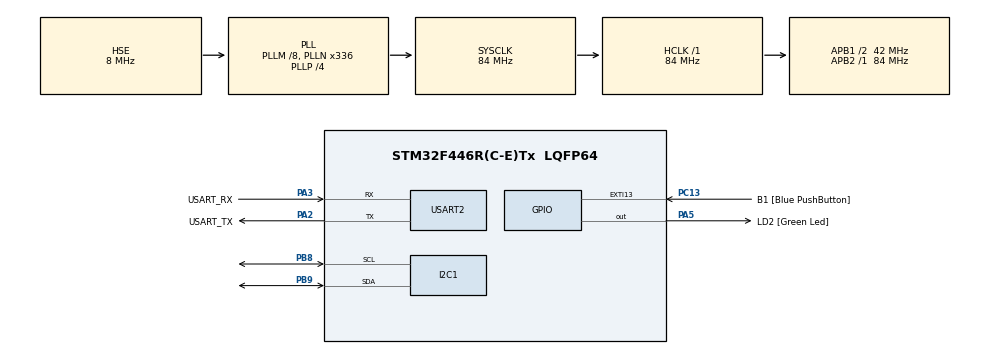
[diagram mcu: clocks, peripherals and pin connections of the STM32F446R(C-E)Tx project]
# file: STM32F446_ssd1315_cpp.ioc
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I2C1.I2C_Mode=I2C_Fast
Mcu.Family=STM32F4
Mcu.Name=STM32F446R(C-E)Tx
Mcu.Package=LQFP64
NVIC.PriorityGroup=NVIC_PRIORITYGROUP_0
PA13.GPIO_Label=TMS
PA13.Mode=Serial_Wire
PA13.Signal=SYS_JTMS-SWDIO
PA14.GPIO_Label=TCK
PA14.Mode=Serial_Wire
PA14.Signal=SYS_JTCK-SWCLK
PA2.GPIO_Label=USART_TX
PA2.Mode=Asynchronous
PA2.Signal=USART2_TX
PA3.GPIO_Label=USART_RX
PA3.Mode=Asynchronous
PA3.Signal=USART2_RX
PA5.GPIO_Label=LD2 [Green Led]
PA5.Signal=GPIO_Output
PB3.GPIO_Label=SWO
PB3.Signal=SYS_JTDO-SWO
PB8.Mode=I2C
PB8.Signal=I2C1_SCL
PB9.Mode=I2C
PB9.Signal=I2C1_SDA
PC13.GPIO_Label=B1 [Blue PushButton]
PC13.GPIO_ModeDefaultEXTI=GPIO_MODE_IT_FALLING
PC13.Signal=GPXTI13
PC14-OSC32_IN.Mode=LSE-External-Oscillator
PC14-OSC32_IN.Signal=RCC_OSC32_IN
PC15-OSC32_OUT.Mode=LSE-External-Oscillator
PC15-OSC32_OUT.Signal=RCC_OSC32_OUT
PH0-OSC_IN.Mode=HSE-External-Oscillator
PH0-OSC_IN.Signal=RCC_OSC_IN
PH1-OSC_OUT.Mode=HSE-External-Oscillator
PH1-OSC_OUT.Signal=RCC_OSC_OUT
ProjectManager.HeapSize=0x200
ProjectManager.StackSize=0x400
ProjectManager.TargetToolchain=STM32CubeIDE
RCC.48MHZClocksFreq_Value=84000000
RCC.AHBFreq_Value=84000000
RCC.APB1CLKDivider=RCC_HCLK_DIV2
RCC.APB1Freq_Value=42000000
RCC.APB1TimFreq_Value=84000000
RCC.APB2Freq_Value=84000000
RCC.APB2TimFreq_Value=84000000
RCC.CortexFreq_Value=84000000
RCC.FLatency-AdvancedSettings=FLASH_LATENCY_2
RCC.HCLKFreq_Value=84000000
RCC.HSE_VALUE=8000000
RCC.HSI_VALUE=16000000
RCC.PLLM=8
RCC.PLLN=336
RCC.PLLP=RCC_PLLP_DIV4
RCC.PLLSourceVirtual=RCC_PLLSOURCE_HSE
RCC.SYSCLKFreq_VALUE=84000000
RCC.SYSCLKSource=RCC_SYSCLKSOURCE_PLLCLK
RCC.USBFreq_Value=168000000
RCC.VCOOutputFreq_Value=336000000
USART2.VirtualMode=VM_ASYNC
board=NUCLEO-F446RE

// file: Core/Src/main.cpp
/* USER CODE BEGIN Header */
/**
  ******************************************************************************
  * @file           : main.c
  * @brief          : Main program body
  ******************************************************************************
  * @attention
  *
  * Copyright (c) 2024 STMicroelectronics.
  * All rights reserved.
  *
  * This software is licensed under terms that can be found in the LICENSE file
  * in the root directory of this software component.
  * If no LICENSE file comes with this software, it is provided AS-IS.
  *
  ******************************************************************************
  */
/* USER CODE END Header */
#include "main.h"

/* USER CODE BEGIN Includes */
#include "ssd1315.hpp"
/* USER CODE END Includes */

I2C_HandleTypeDef hi2c1;

UART_HandleTypeDef huart2;

void SystemClock_Config(void);
static void MX_GPIO_Init(void);
static void MX_USART2_UART_Init(void);
static void MX_I2C1_Init(void);

int main(void)
{
  /* USER CODE BEGIN 1 */
	// Create an object with parameters
	ssd1315 myssd1315(&hi2c1, SSD1315_ADDR);
  /* USER CODE END 1 */

  /* MCU Configuration--------------------------------------------------------*/

  /* Reset of all peripherals, Initializes the Flash interface and the Systick. */
  HAL_Init();

  /* Configure the system clock */
  SystemClock_Config();

  /* Initialize all configured peripherals */
  MX_GPIO_Init();
  MX_USART2_UART_Init();
  MX_I2C1_Init();
  /* USER CODE BEGIN 2 */
  myssd1315.init();
  myssd1315.setcontrast(255);
  myssd1315.fillscreen(0);
  myssd1315.updatescreen();
  myssd1315.plotline(0, 0, 127, 63, 1);
  myssd1315.plotline(0, 63, 127, 0, 1);
  myssd1315.updatescreen();
  myssd1315.plotcircle(64, 32, 31, 1);
  myssd1315.updatescreen();
  for (int i = 0; i < 32; i ++) {
	  myssd1315.plotrect(i, 63-i, 127-i, i, 1);
	  myssd1315.updatescreen();
  }

  for (int i = 0; i < 256; i++) {
	  myssd1315.setcontrast(i);
	  HAL_Delay(25);
  }
  myssd1315.fillscreen(0);
  myssd1315.setpos(0, 0);
  myssd1315.puts("Done.");
  myssd1315.updatescreen();
  /* USER CODE END 2 */

  /* Infinite loop */
  while (1)
  {

  }
}

void SystemClock_Config(void)
{
  RCC_OscInitTypeDef RCC_OscInitStruct = {0};
  RCC_ClkInitTypeDef RCC_ClkInitStruct = {0};

  /** Configure the main internal regulator output voltage
  */
  __HAL_RCC_PWR_CLK_ENABLE();
  __HAL_PWR_VOLTAGESCALING_CONFIG(PWR_REGULATOR_VOLTAGE_SCALE3);

  /** Initializes the RCC Oscillators according to the specified parameters
  * in the RCC_OscInitTypeDef structure.
  */
  RCC_OscInitStruct.OscillatorType = RCC_OSCILLATORTYPE_HSE;
  RCC_OscInitStruct.HSEState = RCC_HSE_ON;
  RCC_OscInitStruct.PLL.PLLState = RCC_PLL_ON;
  RCC_OscInitStruct.PLL.PLLSource = RCC_PLLSOURCE_HSE;
  RCC_OscInitStruct.PLL.PLLM = 8;
  RCC_OscInitStruct.PLL.PLLN = 336;
  RCC_OscInitStruct.PLL.PLLP = RCC_PLLP_DIV4;
  RCC_OscInitStruct.PLL.PLLQ = 2;
  RCC_OscInitStruct.PLL.PLLR = 2;
  if (HAL_RCC_OscConfig(&RCC_OscInitStruct) != HAL_OK)
  {
    Error_Handler();
  }

  /** Initializes the CPU, AHB and APB buses clocks
  */
  RCC_ClkInitStruct.ClockType = RCC_CLOCKTYPE_HCLK|RCC_CLOCKTYPE_SYSCLK
                              |RCC_CLOCKTYPE_PCLK1|RCC_CLOCKTYPE_PCLK2;
  RCC_ClkInitStruct.SYSCLKSource = RCC_SYSCLKSOURCE_PLLCLK;
  RCC_ClkInitStruct.AHBCLKDivider = RCC_SYSCLK_DIV1;
  RCC_ClkInitStruct.APB1CLKDivider = RCC_HCLK_DIV2;
  RCC_ClkInitStruct.APB2CLKDivider = RCC_HCLK_DIV1;

  if (HAL_RCC_ClockConfig(&RCC_ClkInitStruct, FLASH_LATENCY_2) != HAL_OK)
  {
    Error_Handler();
  }
}

static void MX_I2C1_Init(void)
{

  hi2c1.Instance = I2C1;
  hi2c1.Init.ClockSpeed = 400000;
  hi2c1.Init.DutyCycle = I2C_DUTYCYCLE_2;
  hi2c1.Init.OwnAddress1 = 0;
  hi2c1.Init.AddressingMode = I2C_ADDRESSINGMODE_7BIT;
  hi2c1.Init.DualAddressMode = I2C_DUALADDRESS_DISABLE;
  hi2c1.Init.OwnAddress2 = 0;
  hi2c1.Init.GeneralCallMode = I2C_GENERALCALL_DISABLE;
  hi2c1.Init.NoStretchMode = I2C_NOSTRETCH_DISABLE;
  if (HAL_I2C_Init(&hi2c1) != HAL_OK)
  {
    Error_Handler();
  }

}

static void MX_USART2_UART_Init(void)
{

  huart2.Instance = USART2;
  huart2.Init.BaudRate = 115200;
  huart2.Init.WordLength = UART_WORDLENGTH_8B;
  huart2.Init.StopBits = UART_STOPBITS_1;
  huart2.Init.Parity = UART_PARITY_NONE;
  huart2.Init.Mode = UART_MODE_TX_RX;
  huart2.Init.HwFlowCtl = UART_HWCONTROL_NONE;
  huart2.Init.OverSampling = UART_OVERSAMPLING_16;
  if (HAL_UART_Init(&huart2) != HAL_OK)
  {
    Error_Handler();
  }

}

static void MX_GPIO_Init(void)
{
  GPIO_InitTypeDef GPIO_InitStruct = {0};

  /* GPIO Ports Clock Enable */
  __HAL_RCC_GPIOC_CLK_ENABLE();
  __HAL_RCC_GPIOH_CLK_ENABLE();
  __HAL_RCC_GPIOA_CLK_ENABLE();
  __HAL_RCC_GPIOB_CLK_ENABLE();

  /*Configure GPIO pin Output Level */
  HAL_GPIO_WritePin(LD2_GPIO_Port, LD2_Pin, GPIO_PIN_RESET);

  /*Configure GPIO pin : B1_Pin */
  GPIO_InitStruct.Pin = B1_Pin;
  GPIO_InitStruct.Mode = GPIO_MODE_IT_FALLING;
  GPIO_InitStruct.Pull = GPIO_NOPULL;
  HAL_GPIO_Init(B1_GPIO_Port, &GPIO_InitStruct);

  /*Configure GPIO pin : LD2_Pin */
  GPIO_InitStruct.Pin = LD2_Pin;
  GPIO_InitStruct.Mode = GPIO_MODE_OUTPUT_PP;
  GPIO_InitStruct.Pull = GPIO_NOPULL;
  GPIO_InitStruct.Speed = GPIO_SPEED_FREQ_LOW;
  HAL_GPIO_Init(LD2_GPIO_Port, &GPIO_InitStruct);

}

void Error_Handler(void)
{
  __disable_irq();
  while (1)
  {
  }
}
